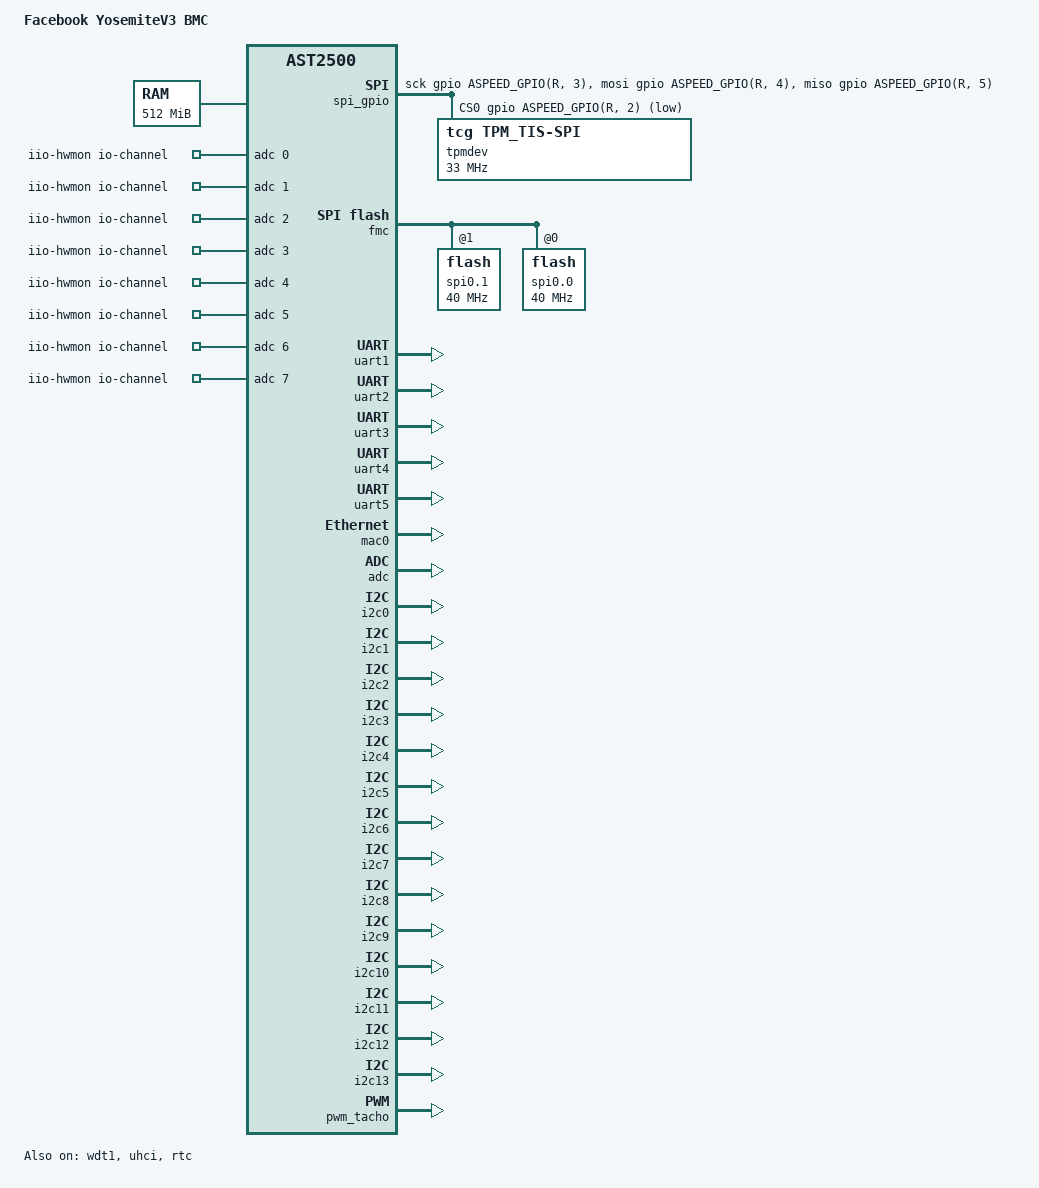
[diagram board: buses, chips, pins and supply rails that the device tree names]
// SPDX-License-Identifier: GPL-2.0+
// Copyright (c) 2018 Facebook Inc.
/dts-v1/;

#include "aspeed-g5.dtsi"
#include <dt-bindings/gpio/aspeed-gpio.h>

/ {
	model = "Facebook YosemiteV3 BMC";
	compatible = "facebook,yosemitev3-bmc", "aspeed,ast2500";
	aliases {
		serial0 = &uart5;
		serial1 = &uart1;
		serial2 = &uart2;
		serial3 = &uart3;
		serial4 = &uart4;
	};
	chosen {
		stdout-path = &uart5;
		bootargs = "debug console=ttyS0,57600n8 root=/dev/ram rw";
	};

	memory@80000000 {
		reg = <0x80000000 0x20000000>;
	};

	iio-hwmon {
		compatible = "iio-hwmon";
		io-channels = <&adc 0>, <&adc 1>, <&adc 2>, <&adc 3>,
			      <&adc 4>, <&adc 5>, <&adc 6>, <&adc 7>,
                              <&adc 8>, <&adc 9>, <&adc 10>;
	};
	spi_gpio: spi-gpio {
		status = "okay";
		compatible = "spi-gpio";
		#address-cells = <1>;
		#size-cells = <0>;

		gpio-sck = <&gpio ASPEED_GPIO(R, 3) GPIO_ACTIVE_HIGH>;
		gpio-mosi = <&gpio ASPEED_GPIO(R, 4) GPIO_ACTIVE_HIGH>;
		gpio-miso = <&gpio ASPEED_GPIO(R, 5) GPIO_ACTIVE_HIGH>;
		num-chipselects = <1>;
		cs-gpios = <&gpio ASPEED_GPIO(R, 2) GPIO_ACTIVE_LOW>;

		tpmdev@0 {
			compatible = "tcg,tpm_tis-spi";
			spi-max-frequency = <33000000>;
			reg = <0>;
		};
	};
};

&wdt1 {
	status = "okay";
	pinctrl-names = "default";
	pinctrl-0 = <&pinctrl_wdtrst1_default>;
	aspeed,reset-type = "soc";
	aspeed,external-signal;
	aspeed,ext-push-pull;
	aspeed,ext-active-high;
	aspeed,ext-pulse-duration = <256>;
};

&fmc {
	status = "okay";
	flash@0 {
		reg = < 1 >;
		status = "okay";
		m25p,fast-read;
		label = "spi0.1";
		spi-max-frequency = <40000000>;
#include "facebook-bmc-vboot2-flash1-layout.dtsi"
	};
	flash@1 {
		reg = < 0 >;
		status = "okay";
		m25p,fast-read;
		label = "spi0.0";
		spi-max-frequency = <40000000>;
#include "facebook-bmc-vboot2-flash0-layout.dtsi"
	};
};

&uhci {
	status = "okay";
	pinctrl-names = "default";
	pinctrl-0 = <&pinctrl_usb2ah_default>;
};

&ibt {
	status = "disabled";
};

&rtc {
	status = "okay";
};

&uart1 {
	status = "okay";
	pinctrl-names = "default";
	pinctrl-0 = <&pinctrl_txd1_default
		     &pinctrl_rxd1_default>;
};

&uart2 {
	status = "okay";
	pinctrl-names = "default";
	pinctrl-0 = <&pinctrl_txd2_default
		     &pinctrl_rxd2_default>;
};

&uart3 {
	status = "okay";
	pinctrl-names = "default";
	pinctrl-0 = <&pinctrl_txd3_default
		     &pinctrl_rxd3_default>;
};

&uart4 {
	status = "okay";
	pinctrl-names = "default";
	pinctrl-0 = <&pinctrl_txd4_default
		     &pinctrl_rxd4_default>;
};

&uart5 {
	status = "okay";
};

&mac0 {
	status = "okay";
	pinctrl-names = "default";
	pinctrl-0 = <&pinctrl_rmii1_default>;
	no-hw-checksum;
	use-ncsi;
	mlx,multi-host;
	ncsi-ctrl,start-redo-probe;
	ncsi-ctrl,no-channel-monitor;
	ncsi-ctrl,skip-aen-handler;
	ncsi-package = <1>;
	ncsi-channel = <1>;
	ncsi-rexmit = <1>;
};

&adc {
	status = "okay";
};

&i2c0 {
	multi-master;
	bus-frequency = <1000000>;
	tck-high = <10>;
	tck-low = <13>;
	aspeed,hw-timeout-ms = <1000>;
	status = "okay";
};

&i2c1 {
	multi-master;
	bus-frequency = <1000000>;
	tck-high = <10>;
	tck-low = <13>;
	aspeed,hw-timeout-ms = <1000>;
	status = "okay";
};

&i2c2 {
	multi-master;
	bus-frequency = <1000000>;
	tck-high = <10>;
	tck-low = <13>;
	aspeed,hw-timeout-ms = <1000>;
	status = "okay";
};

&i2c3 {
	multi-master;
	bus-frequency = <1000000>;
	tck-high = <10>;
	tck-low = <13>;
	aspeed,hw-timeout-ms = <1000>;
	status = "okay";
};

&i2c4 {
	status = "okay";
};

&i2c5 {
	status = "okay";
};

&i2c6 {
	status = "okay";
};

&i2c7 {
	status = "okay";
};

&i2c8 {
	status = "okay";
};

&i2c9 {
	multi-master;
	bus-frequency = <100000>;
	aspeed,hw-timeout-ms = <1000>;
	status = "okay";
};

&i2c10 {
	status = "okay";
};

&i2c11 {
	status = "okay";
};

&i2c12 {
	status = "okay";
};

&i2c13 {
	status = "okay";
};

&pwm_tacho {
	status = "okay";
	pinctrl-names = "default";
	pinctrl-0 = <&pinctrl_pwm0_default &pinctrl_pwm1_default &pinctrl_pwm2_default &pinctrl_pwm3_default>;
	fan@0 {
		reg = <0x00>;
		aspeed,fan-tach-ch = /bits/ 8 <0x00 0x01>;
		aspeed,pwm-typem-tach-mode = /bits/ 8 <0x00>;       // 00b: falling
		aspeed,pwm-typem-tach-unit = /bits/ 16 <0x1000>;    // 4096
		aspeed,pwm-typem-tach-clk-div = /bits/ 8 <0x00>;    // div 4
	};

	fan@1 {
		reg = <0x01>;
		aspeed,fan-tach-ch = /bits/ 8 <0x02 0x03>;
		aspeed,pwm-typem-tach-mode = /bits/ 8 <0x00>;       // 00b: falling
		aspeed,pwm-typem-tach-unit = /bits/ 16 <0x1000>;    // 4096
		aspeed,pwm-typem-tach-clk-div = /bits/ 8 <0x00>;    // div 4
	};

	fan@2 {
		reg = <0x02>;
		aspeed,fan-tach-ch = /bits/ 8 <0x04 0x05>;
		aspeed,pwm-typem-tach-mode = /bits/ 8 <0x00>;       // 00b: falling
		aspeed,pwm-typem-tach-unit = /bits/ 16 <0x1000>;    // 4096
		aspeed,pwm-typem-tach-clk-div = /bits/ 8 <0x00>;    // div 4
	};

	fan@3 {
		reg = <0x03>;
		aspeed,fan-tach-ch = /bits/ 8 <0x06 0x07>;
		aspeed,pwm-typem-tach-mode = /bits/ 8 <0x00>;       // 00b: falling
		aspeed,pwm-typem-tach-unit = /bits/ 16 <0x1000>;    // 4096
		aspeed,pwm-typem-tach-clk-div = /bits/ 8 <0x00>;    // div 4
	};
};
